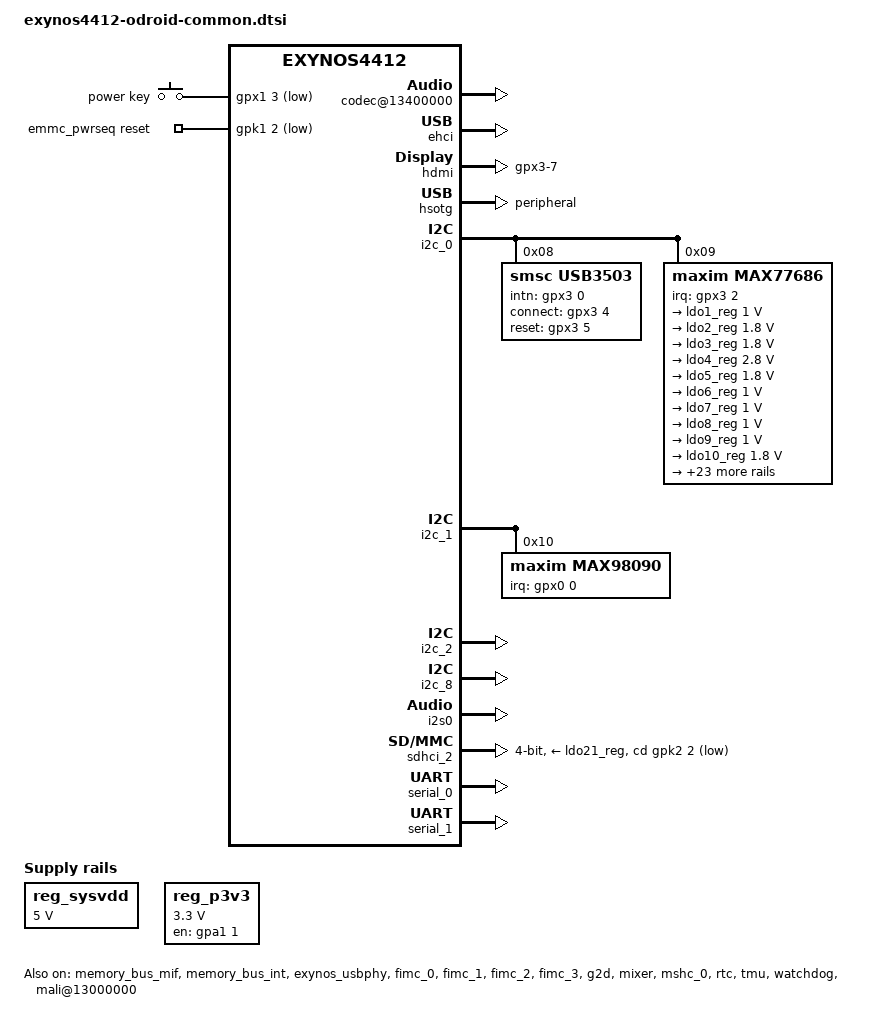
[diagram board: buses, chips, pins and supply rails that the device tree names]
/*
 * Common definition for Hardkernel's Exynos4412 based ODROID-X/X2/U2/U3 boards
 * device tree source
 *
 * This program is free software; you can redistribute it and/or modify
 * it under the terms of the GNU General Public License version 2 as
 * published by the Free Software Foundation.
*/

#include <dt-bindings/sound/samsung-i2s.h>
#include <dt-bindings/input/input.h>
#include <dt-bindings/clock/maxim,max77686.h>
#include "exynos4412.dtsi"

/ {
	chosen {
		stdout-path = &serial_1;
	};

	reserved-memory {
		#address-cells = <1>;
		#size-cells = <1>;
		ranges;

		mfc_left: region@77000000 {
			compatible = "shared-dma-pool";
			reusable;
			reg = <0x77000000 0x1000000>;
		};

		mfc_right: region@78000000 {
			compatible = "shared-dma-pool";
			reusable;
			reg = <0x78000000 0x1000000>;
		};
	};

	firmware@0204F000 {
		compatible = "samsung,secure-firmware";
		reg = <0x0204F000 0x1000>;
	};

	gpio_keys {
		compatible = "gpio-keys";
		pinctrl-names = "default";
		pinctrl-0 = <&gpio_power_key>;

		power_key {
			interrupt-parent = <&gpx1>;
			interrupts = <3 0>;
			gpios = <&gpx1 3 1>;
			linux,code = <KEY_POWER>;
			label = "power key";
			debounce-interval = <10>;
			gpio-key,wakeup;
		};
	};

	regulators {
		compatible = "simple-bus";
		#address-cells = <1>;
		#size-cells = <0>;

		reg_sysvdd: regulator@0 {
			compatible = "regulator-fixed";
			reg = <0x0>;
			regulator-name = "sysvdd";
			regulator-min-microvolt = <5000000>;
			regulator-max-microvolt = <5000000>;
			regulator-always-on;
			regulator-boot-on;
		};

		reg_p3v3: regulator@1 {
			compatible = "regulator-fixed";
			reg = <0x1>;
			regulator-name = "p3v3";
			regulator-min-microvolt = <3300000>;
			regulator-max-microvolt = <3300000>;
			gpio = <&gpa1 1 3>;
			enable-active-high;
			regulator-always-on;
			regulator-boot-on;
		};
	};

	sound: sound {
		compatible = "simple-audio-card";
		assigned-clocks = <&clock_audss EXYNOS_MOUT_AUDSS>,
				<&clock_audss EXYNOS_MOUT_I2S>,
				<&clock_audss EXYNOS_DOUT_SRP>,
				<&clock_audss EXYNOS_DOUT_AUD_BUS>;
		assigned-clock-parents = <&clock CLK_FOUT_EPLL>,
				<&clock_audss EXYNOS_MOUT_AUDSS>;
		assigned-clock-rates = <0>,
				<0>,
				<192000000>,
				<19200000>;

		simple-audio-card,format = "i2s";
		simple-audio-card,bitclock-master = <&link0_codec>;
		simple-audio-card,frame-master = <&link0_codec>;

		simple-audio-card,cpu {
			sound-dai = <&i2s0 0>;
			system-clock-frequency = <19200000>;
		};

		link0_codec: simple-audio-card,codec {
			sound-dai = <&max98090>;
			clocks = <&i2s0 CLK_I2S_CDCLK>;
		};
	};

	emmc_pwrseq: pwrseq {
		pinctrl-0 = <&sd1_cd>;
		pinctrl-names = "default";
		compatible = "mmc-pwrseq-emmc";
		reset-gpios = <&gpk1 2 1>;
	};

	camera {
		status = "okay";
		pinctrl-names = "default";
		pinctrl-0 = <>;
	};

	fixed-rate-clocks {
		xxti {
			compatible = "samsung,clock-xxti";
			clock-frequency = <0>;
		};

		xusbxti {
			compatible = "samsung,clock-xusbxti";
			clock-frequency = <24000000>;
		};
	};

	isp-power-domain@10023CA0 {
		domain-always-on;
	};

	thermal-zones {
		cpu_thermal: cpu-thermal {
			cooling-maps {
				map0 {
				     /* Corresponds to 800MHz at freq_table */
				     cooling-device = <&cpu0 7 7>;
				};
				map1 {
				     /* Corresponds to 200MHz at freq_table */
				     cooling-device = <&cpu0 13 13>;
			       };
		       };
		};
	};

	hdmi_cec: hdmi-cec {
		samsung,pins = "gpx3-6";
		samsung,pin-function = <3>;
		samsung,pin-pud = <0>;
		samsung,pin-drv = <0>;
	};

	codec@13400000 {
		status = "okay";
		memory-region = <&mfc_left>, <&mfc_right>;
		memory-region-names = "left", "right";
	};

	mali@13000000 {
		compatible = "arm,mali400-mp4";
		#address-cells = <1>;
		#size-cells = <1>;

		shared-memory-size = <0x10000000>;

		/* mali dvfs */
		utilization-interval = <1000>;

		power-domains = <&pd_g3d>;
		status = "okay";

		/* Propagate VPLL output clock to SCLK_G3D and ensure that the DIV_G3D
		 * divider is 1. */
		assigned-clocks = <&clock CLK_MOUT_G3D1>, <&clock CLK_MOUT_G3D>, <&clock CLK_FOUT_VPLL>, <&clock CLK_SCLK_G3D>;
		assigned-clock-parents = <&clock CLK_SCLK_VPLL>, <&clock CLK_MOUT_G3D1>;
		assigned-clock-rates = <0>, <0>, <533000000>, <533000000>;

		clocks = <&clock CLK_SCLK_G3D>, <&clock CLK_G3D>;
		clock-names = "sclk_g3d", "g3d";

		reg = <0x13001000 0x200>, <0x13000000 0x100>, <0x13003000 0x100>,
			<0x13008000 0x1100>, <0x13004000 0x100>, <0x1300A000 0x1100>,
			<0x13005000 0x100>, <0x1300C000 0x1100>, <0x13006000 0x100>,
			<0x1300E000 0x1100>, <0x13007000 0x100>, <0x13012000 0x100>;
		reg-names = "l2", "gp", "gp_mmu", "pp_0", "pp_mmu_0", "pp_1", "pp_mmu_1",
			"pp_2", "pp_mmu_2", "pp_3", "pp_mmu_3", "dma";

		interrupts = <0 127 0>, <0 122 0>, <0 123 0>, <0 118 0>, <0 124 0>,
			<0 119 0>, <0 125 0>, <0 120 0>, <0 126 0>, <0 121 0>;
		interrupt-names = "gp", "gp_mmu", "pp_0", "pp_mmu_0", "pp_1", "pp_mmu_1",
			"pp_2", "pp_mmu_2", "pp_3", "pp_mmu_3";

	};
};

/* RSTN signal for eMMC */
&sd1_cd {
	samsung,pin-pud = <0>;
	samsung,pin-drv = <0>;
};

&ppmu_dmc0 {
	status = "okay";

	events {
		ppmu_dmc0_3: ppmu-event3-dmc0 {
			event-name = "ppmu-event3-dmc0";
		};
	};
};

&ppmu_dmc1 {
	status = "okay";

	events {
		ppmu_dmc1_3: ppmu-event3-dmc1 {
			event-name = "ppmu-event3-dmc1";
		};
	};
};

&ppmu_leftbus {
	status = "okay";

	events {
		ppmu_leftbus_3: ppmu-event3-leftbus {
			event-name = "ppmu-event3-leftbus";
		};
	};
};

&ppmu_rightbus {
	status = "okay";

	events {
		ppmu_rightbus_3: ppmu-event3-rightbus {
			event-name = "ppmu-event3-rightbus";
		};
	};
};

&memory_bus_mif {
	devfreq-events = <&ppmu_dmc0_3>, <&ppmu_dmc1_3>;
	vdd-mem-supply = <&buck1_reg>;
	status = "okay";
};

&memory_bus_int {
	devfreq-events = <&ppmu_leftbus_3>, <&ppmu_rightbus_3>;
	vdd-mem-supply = <&buck3_reg>;
	status = "okay";
};

&pinctrl_1 {
	gpio_power_key: power_key {
		samsung,pins = "gpx1-3";
		samsung,pin-pud = <0>;
	};

	max77686_irq: max77686-irq {
		samsung,pins = "gpx3-2";
		samsung,pin-function = <0>;
		samsung,pin-pud = <0>;
		samsung,pin-drv = <0>;
	};

	hdmi_hpd: hdmi-hpd {
		samsung,pins = "gpx3-7";
		samsung,pin-pud = <1>;
	};
};

&ehci {
	status = "okay";
};

&exynos_usbphy {
	status = "okay";
};

&fimc_0 {
	status = "okay";
	assigned-clocks = <&clock CLK_MOUT_FIMC0>,
			<&clock CLK_SCLK_FIMC0>;
	assigned-clock-parents = <&clock CLK_MOUT_MPLL_USER_T>;
	assigned-clock-rates = <0>, <176000000>;
};

&fimc_1 {
	status = "okay";
	assigned-clocks = <&clock CLK_MOUT_FIMC1>,
			<&clock CLK_SCLK_FIMC1>;
	assigned-clock-parents = <&clock CLK_MOUT_MPLL_USER_T>;
	assigned-clock-rates = <0>, <176000000>;
};

&fimc_2 {
	status = "okay";
	assigned-clocks = <&clock CLK_MOUT_FIMC2>,
			<&clock CLK_SCLK_FIMC2>;
	assigned-clock-parents = <&clock CLK_MOUT_MPLL_USER_T>;
	assigned-clock-rates = <0>, <176000000>;
};

&fimc_3 {
	status = "okay";
	assigned-clocks = <&clock CLK_MOUT_FIMC3>,
			<&clock CLK_SCLK_FIMC3>;
	assigned-clock-parents = <&clock CLK_MOUT_MPLL_USER_T>;
	assigned-clock-rates = <0>, <176000000>;
};

&g2d {
	status = "okay";
};

&hdmi {
	hpd-gpio = <&gpx3 7 0>;
	pinctrl-names = "default";
	pinctrl-0 = <&hdmi_hpd>;
	vdd-supply = <&ldo8_reg>;
	vdd_osc-supply = <&ldo10_reg>;
	vdd_pll-supply = <&ldo8_reg>;
	ddc = <&i2c_2>;
	status = "okay";
};

&hsotg {
	dr_mode = "peripheral";
	status = "okay";
	vusb_d-supply = <&ldo15_reg>;
	vusb_a-supply = <&ldo12_reg>;
};

&i2c_0 {
	samsung,i2c-slave-addr = <0x10>;
	samsung,i2c-sda-delay = <100>;
	samsung,i2c-max-bus-freq = <400000>;
	status = "okay";

	usb3503: usb3503@08 {
		compatible = "smsc,usb3503";
		reg = <0x08>;

		intn-gpios = <&gpx3 0 0>;
		connect-gpios = <&gpx3 4 0>;
		reset-gpios = <&gpx3 5 0>;
		initial-mode = <1>;
		usb3503-gpio-waittime = <100>;
	};

	max77686: pmic@09 {
		compatible = "maxim,max77686";
		interrupt-parent = <&gpx3>;
		interrupts = <2 0>;
		pinctrl-names = "default";
		pinctrl-0 = <&max77686_irq>;
		reg = <0x09>;
		#clock-cells = <1>;

		voltage-regulators {
			ldo1_reg: ldo@1 {
				regulator-compatible = "LDO1";
				regulator-name = "vdd_alive_1.0V";
				regulator-min-microvolt = <1000000>;
				regulator-max-microvolt = <1000000>;
				regulator-always-on;
				LDO1-supply = <&buck6_reg>;
			};

			ldo2_reg: ldo@2 {
				regulator-compatible = "LDO2";
				regulator-name = "vddq_m1_m2_1.8V";
				regulator-min-microvolt = <1800000>;
				regulator-max-microvolt = <1800000>;
				regulator-always-on;
			};

			ldo3_reg: ldo@3 {
				regulator-compatible = "LDO3";
				regulator-name = "vddq_ext_1.8V";
				regulator-min-microvolt = <1800000>;
				regulator-max-microvolt = <1800000>;
				regulator-always-on;
				LDO3-supply = <&buck7_reg>;
			};

			ldo4_reg: ldo@4 {
				regulator-compatible = "LDO4";
				regulator-name = "vddq_mmc2_2.8V";
				regulator-min-microvolt = <2800000>;
				regulator-max-microvolt = <2800000>;
				regulator-boot-on;
				LDO4-supply = <&reg_sysvdd>;
			};

			ldo5_reg: ldo@5 {
				regulator-compatible = "LDO5";
				regulator-name = "vddq_mmc1_mmc3_1.8V";
				regulator-min-microvolt = <1800000>;
				regulator-max-microvolt = <1800000>;
				regulator-always-on;
				regulator-boot-on;
				LDO5-supply = <&buck7_reg>;
			};

			ldo6_reg: ldo@6 {
				regulator-compatible = "LDO6";
				regulator-name = "vdd_mpll_1.0V";
				regulator-min-microvolt = <1000000>;
				regulator-max-microvolt = <1000000>;
				regulator-always-on;
				LDO6-supply = <&buck6_reg>;
			};

			ldo7_reg: ldo@7 {
				regulator-compatible = "LDO7";
				regulator-name = "vdd_epll_1.0V";
				regulator-min-microvolt = <1000000>;
				regulator-max-microvolt = <1000000>;
				regulator-always-on;
				LDO7-supply = <&buck6_reg>;
			};

			ldo8_reg: ldo@8 {
				regulator-compatible = "LDO8";
				regulator-name = "vdd_hdmi_1.0V";
				regulator-min-microvolt = <1000000>;
				regulator-max-microvolt = <1000000>;
				LDO8-supply = <&buck6_reg>;
			};

			ldo9_reg: ldo@9 {
				regulator-compatible = "LDO9";
				regulator-name = "vt_core_1.0V";
				regulator-min-microvolt = <1000000>;
				regulator-max-microvolt = <1000000>;
				regulator-always-on;
				LDO9-supply = <&buck7_reg>;
			};

			ldo10_reg: ldo@10 {
				regulator-compatible = "LDO10";
				regulator-name = "vddq_mipihsi_1.8V";
				regulator-min-microvolt = <1800000>;
				regulator-max-microvolt = <1800000>;
				LDO10-supply = <&buck7_reg>;
			};

			ldo11_reg: ldo@11 {
				regulator-compatible = "LDO11";
				regulator-name = "vdd_abb1_1.8V";
				regulator-min-microvolt = <1800000>;
				regulator-max-microvolt = <1800000>;
				regulator-always-on;
				LDO11-supply = <&buck7_reg>;
			};

			ldo12_reg: ldo@12 {
				regulator-compatible = "LDO12";
				regulator-name = "vdd_usb_otg_3.3V";
				regulator-min-microvolt = <3300000>;
				regulator-max-microvolt = <3300000>;
				regulator-always-on;
				regulator-boot-on;
				LDO12-supply = <&reg_sysvdd>;
			};

			ldo13_reg: ldo@13 {
				regulator-compatible = "LDO13";
				regulator-name = "vddq_c2c_w_1.8V";
				regulator-min-microvolt = <1800000>;
				regulator-max-microvolt = <1800000>;
				regulator-always-on;
				regulator-boot-on;
				LDO13-supply = <&buck7_reg>;
			};

			ldo14_reg: ldo@14 {
				regulator-compatible = "LDO14";
				regulator-name = "vdd_abb0_abb2_1.8V";
				regulator-min-microvolt = <1800000>;
				regulator-max-microvolt = <1800000>;
				regulator-always-on;
				regulator-boot-on;
				LDO14-supply = <&buck7_reg>;
			};

			ldo15_reg: ldo@15 {
				regulator-compatible = "LDO15";
				regulator-name = "vdd_otg_hsic_1.0V";
				regulator-min-microvolt = <1000000>;
				regulator-max-microvolt = <1000000>;
				regulator-always-on;
				regulator-boot-on;
				LDO15-supply = <&buck6_reg>;
			};

			ldo16_reg: ldo@16 {
				regulator-compatible = "LDO16";
				regulator-name = "vdd_hsic_1.8V";
				regulator-min-microvolt = <1800000>;
				regulator-max-microvolt = <1800000>;
				regulator-always-on;
				regulator-boot-on;
				LDO16-supply = <&buck7_reg>;
			};

			ldo17_reg: ldo@17 {
				regulator-compatible = "LDO17";
				regulator-name = "vddq_cam_1.8V";
				regulator-min-microvolt = <1800000>;
				regulator-max-microvolt = <1800000>;
				LDO17-supply = <&buck7_reg>;
			};

			ldo18_reg: ldo@18 {
				regulator-compatible = "LDO18";
				regulator-name = "vddq_isp_1.8V";
				regulator-min-microvolt = <1800000>;
				regulator-max-microvolt = <1800000>;
				regulator-always-on;
				LDO18-supply = <&buck7_reg>;
			};

			ldo19_reg: ldo@19 {
				regulator-compatible = "LDO19";
				regulator-name = "vt_cam_1.8V";
				regulator-min-microvolt = <1800000>;
				regulator-max-microvolt = <1800000>;
				LDO19-supply = <&buck7_reg>;
			};

			ldo20_reg: ldo@20 {
				regulator-compatible = "LDO20";
				regulator-name = "vddq_emmc_1.8V";
				regulator-min-microvolt = <1800000>;
				regulator-max-microvolt = <3000000>;
				regulator-boot-on;
				LDO20-supply = <&buck7_reg>;
			};

			ldo21_reg: ldo@21 {
				regulator-compatible = "LDO21";
				regulator-name = "tflash_2.8V";
				regulator-min-microvolt = <2800000>;
				regulator-max-microvolt = <2800000>;
				regulator-boot-on;
				LDO21-supply = <&reg_sysvdd>;
			};

			ldo23_reg: ldo@23 {
				regulator-compatible = "LDO23";
				regulator-name = "vdd_touch_2.8V";
				regulator-min-microvolt = <2800000>;
				regulator-max-microvolt = <2800000>;
				LDO23-supply = <&reg_sysvdd>;
			};

			ldo24_reg: ldo@24 {
				regulator-compatible = "LDO24";
				regulator-name = "vdd_touchled_3.3V";
				regulator-min-microvolt = <3300000>;
				regulator-max-microvolt = <3300000>;
				LDO24-supply = <&reg_sysvdd>;
			};

			ldo25_reg: ldo@25 {
				regulator-compatible = "LDO25";
				regulator-name = "vddq_lcd_1.8V";
				regulator-min-microvolt = <1800000>;
				regulator-max-microvolt = <1800000>;
				regulator-always-on;
				regulator-boot-on;
				LDO25-supply = <&reg_sysvdd>;
			};

			ldo26_reg: ldo@26 {
				regulator-compatible = "LDO26";
				regulator-name = "vdd_motor_3.0V";
				regulator-min-microvolt = <3000000>;
				regulator-max-microvolt = <3000000>;
			};

			buck1_reg: buck@1 {
				regulator-compatible = "BUCK1";
				regulator-name = "vdd_mif";
				regulator-min-microvolt = <1100000>;
				regulator-max-microvolt = <1100000>;
				regulator-always-on;
				regulator-boot-on;
				BUCK1-supply = <&reg_sysvdd>;
			};

			buck2_reg: buck@2 {
				regulator-compatible = "BUCK2";
				regulator-name = "vdd_arm";
				regulator-min-microvolt = <900000>;
				regulator-max-microvolt = <1400000>;
				regulator-always-on;
				regulator-boot-on;
				BUCK2-supply = <&reg_sysvdd>;
			};

			buck3_reg: buck@3 {
				regulator-compatible = "BUCK3";
				regulator-name = "vdd_int";
				regulator-min-microvolt = <1125000>;
				regulator-max-microvolt = <1125000>;
				regulator-always-on;
				regulator-boot-on;
				BUCK3-supply = <&reg_sysvdd>;
			};

			buck4_reg: buck@4 {
				regulator-compatible = "BUCK4";
				regulator-name = "vdd_g3d";
				regulator-min-microvolt = <950000>;
				regulator-max-microvolt = <1150000>;
				regulator-microvolt-offset = <50000>;
				BUCK4-supply = <&reg_sysvdd>;
			};

			buck5_reg: buck@5 {
				regulator-compatible = "BUCK5";
				regulator-name = "vddq_ckem1_1.2V";
				regulator-min-microvolt = <1200000>;
				regulator-max-microvolt = <1200000>;
				regulator-always-on;
				regulator-boot-on;
				BUCK5-supply = <&reg_sysvdd>;
			};

			buck6_reg: buck@6 {
				regulator-compatible = "BUCK6";
				regulator-name = "input_ldo_1.35V";
				regulator-min-microvolt = <1350000>;
				regulator-max-microvolt = <1350000>;
				regulator-always-on;
				regulator-boot-on;
				BUCK6-supply = <&reg_sysvdd>;
			};

			buck7_reg: buck@7 {
				regulator-compatible = "BUCK7";
				regulator-name = "input_ldo_2.0V";
				regulator-min-microvolt = <2000000>;
				regulator-max-microvolt = <2000000>;
				regulator-always-on;
				BUCK7-supply = <&reg_sysvdd>;
			};

			buck9_reg: buck@9 {
				regulator-compatible = "BUCK9";
				regulator-name = "io_1.2V";
				regulator-min-microvolt = <1200000>;
				regulator-max-microvolt = <1200000>;
				regulator-always-on;
				BUCK9-supply = <&reg_sysvdd>;
			};
		};
	};
};

&i2c_1 {
	status = "okay";

	samsung,i2c-slave-addr = <0x10>;
	samsung,i2c-sda-delay = <100>;
	samsung,i2c-max-bus-freq = <400000>;

	max98090: max98090@10 {
		compatible = "maxim,max98090";
		reg = <0x10>;
		interrupt-parent = <&gpx0>;
		interrupts = <0 0>;
		clocks = <&i2s0 CLK_I2S_CDCLK>;
		clock-names = "mclk";
		#sound-dai-cells = <0>;
	};
};

&i2c_2 {
	status = "okay";
	pinctrl-names = "default";
	pinctrl-0 = <&i2c2_bus>;
};

&i2c_8 {
	status = "okay";
};

&i2s0 {
	pinctrl-0 = <&i2s0_bus>;
	pinctrl-names = "default";
	status = "okay";
	clocks = <&clock_audss EXYNOS_I2S_BUS>,
		 <&clock_audss EXYNOS_DOUT_AUD_BUS>,
		 <&clock_audss EXYNOS_SCLK_I2S>;
	clock-names = "iis", "i2s_opclk0", "i2s_opclk1";
};

&mixer {
	status = "okay";
};

&mshc_0 {
	pinctrl-0 = <&sd4_clk &sd4_cmd &sd4_bus4 &sd4_bus8>;
	pinctrl-names = "default";
	vqmmc-supply = <&ldo20_reg>;
	mmc-pwrseq = <&emmc_pwrseq>;
	status = "okay";

	num-slots = <1>;
	broken-cd;
	card-detect-delay = <200>;
	samsung,dw-mshc-ciu-div = <3>;
	samsung,dw-mshc-sdr-timing = <2 3>;
	samsung,dw-mshc-ddr-timing = <1 2>;
	bus-width = <8>;
	cap-mmc-highspeed;
};

&rtc {
	status = "okay";
	clocks = <&clock CLK_RTC>, <&max77686 MAX77686_CLK_AP>;
	clock-names = "rtc", "rtc_src";
};

&sdhci_2 {
	bus-width = <4>;
	pinctrl-0 = <&sd2_clk &sd2_cmd &sd2_cd &sd2_bus4>;
	pinctrl-names = "default";
	vmmc-supply = <&ldo21_reg>;
	vqmmc-supply = <&ldo4_reg>;
	cd-gpios = <&gpk2 2 0>;
	cd-inverted;
	status = "okay";
};

&serial_0 {
	status = "okay";
};

&serial_1 {
	status = "okay";
};

&tmu {
	vtmu-supply = <&ldo10_reg>;
	status = "okay";
};

&watchdog {
	status = "okay";
};
